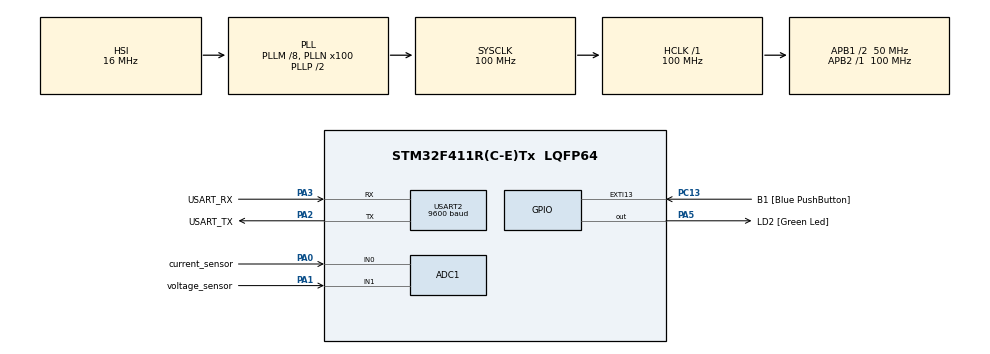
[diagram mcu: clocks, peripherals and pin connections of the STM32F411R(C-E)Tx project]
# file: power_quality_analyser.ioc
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ADC1.Channel-3\#ChannelRegularConversion=ADC_CHANNEL_0
ADC1.Channel-4\#ChannelRegularConversion=ADC_CHANNEL_1
ADC1.ContinuousConvMode=DISABLE
ADC1.DMAContinuousRequests=ENABLE
ADC1.EOCSelection=ADC_EOC_SEQ_CONV
ADC1.ExternalTrigConv=ADC_EXTERNALTRIGCONV_T2_TRGO
ADC1.NbrOfConversion=2
ADC1.NbrOfConversionFlag=1
ADC1.Rank-3\#ChannelRegularConversion=1
ADC1.Rank-4\#ChannelRegularConversion=2
ADC1.SamplingTime-3\#ChannelRegularConversion=ADC_SAMPLETIME_56CYCLES
ADC1.SamplingTime-4\#ChannelRegularConversion=ADC_SAMPLETIME_56CYCLES
ADC1.master=1
Dma.ADC1.0.Direction=DMA_PERIPH_TO_MEMORY
Dma.ADC1.0.FIFOMode=DMA_FIFOMODE_DISABLE
Dma.ADC1.0.Instance=DMA2_Stream0
Dma.ADC1.0.MemDataAlignment=DMA_MDATAALIGN_HALFWORD
Dma.ADC1.0.MemInc=DMA_MINC_ENABLE
Dma.ADC1.0.Mode=DMA_CIRCULAR
Dma.ADC1.0.PeriphDataAlignment=DMA_PDATAALIGN_HALFWORD
Dma.ADC1.0.PeriphInc=DMA_PINC_DISABLE
Dma.ADC1.0.Priority=DMA_PRIORITY_LOW
Dma.Request0=ADC1
Mcu.Family=STM32F4
Mcu.Name=STM32F411R(C-E)Tx
Mcu.Package=LQFP64
NVIC.DMA2_Stream0_IRQn=true\:0\:0\:false\:false\:true\:false\:true\:true
NVIC.PriorityGroup=NVIC_PRIORITYGROUP_0
NVIC.TIM2_IRQn=true\:0\:0\:false\:false\:true\:true\:true\:true
NVIC.USART2_IRQn=true\:0\:0\:false\:false\:true\:true\:true\:true
PA0-WKUP.GPIO_Label=current_sensor
PA0-WKUP.Signal=ADCx_IN0
PA1.GPIO_Label=voltage_sensor
PA1.Signal=ADCx_IN1
PA13.GPIO_Label=TMS
PA13.Mode=Serial_Wire
PA13.Signal=SYS_JTMS-SWDIO
PA14.GPIO_Label=TCK
PA14.Mode=Serial_Wire
PA14.Signal=SYS_JTCK-SWCLK
PA2.GPIO_Label=USART_TX
PA2.Mode=Asynchronous
PA2.Signal=USART2_TX
PA3.GPIO_Label=USART_RX
PA3.Mode=Asynchronous
PA3.Signal=USART2_RX
PA5.GPIO_Label=LD2 [Green Led]
PA5.Signal=GPIO_Output
PB3.GPIO_Label=SWO
PB3.Signal=SYS_JTDO-SWO
PC13-ANTI_TAMP.GPIO_Label=B1 [Blue PushButton]
PC13-ANTI_TAMP.GPIO_ModeDefaultEXTI=GPIO_MODE_IT_FALLING
PC13-ANTI_TAMP.Signal=GPXTI13
PC14-OSC32_IN.Mode=LSE-External-Oscillator
PC14-OSC32_IN.Signal=RCC_OSC32_IN
PC15-OSC32_OUT.Mode=LSE-External-Oscillator
PC15-OSC32_OUT.Signal=RCC_OSC32_OUT
PH0\ -\ OSC_IN.Mode=HSE-External-Clock-Source
PH0\ -\ OSC_IN.Signal=RCC_OSC_IN
PH1\ -\ OSC_OUT.Mode=HSE-External-Clock-Source
PH1\ -\ OSC_OUT.Signal=RCC_OSC_OUT
ProjectManager.HeapSize=0x200
ProjectManager.StackSize=0x400
ProjectManager.TargetToolchain=Makefile
RCC.48MHZClocksFreq_Value=50000000
RCC.AHBFreq_Value=100000000
RCC.APB1CLKDivider=RCC_HCLK_DIV2
RCC.APB1Freq_Value=50000000
RCC.APB1TimFreq_Value=100000000
RCC.APB2Freq_Value=100000000
RCC.APB2TimFreq_Value=100000000
RCC.CortexFreq_Value=100000000
RCC.FLatency-AdvancedSettings=FLASH_LATENCY_3
RCC.HCLKFreq_Value=100000000
RCC.HSE_VALUE=8000000
RCC.HSI_VALUE=16000000
RCC.PLLM=8
RCC.PLLN=100
RCC.SYSCLKFreq_VALUE=100000000
RCC.SYSCLKSource=RCC_SYSCLKSOURCE_PLLCLK
RCC.VCOOutputFreq_Value=200000000
SH.ADCx_IN0.0=ADC1_IN0,IN0
SH.ADCx_IN1.0=ADC1_IN1,IN1
STMicroelectronics.X-CUBE-ALGOBUILD.1.4.0.LibraryCcDSPOoLibraryJjDSPOoLibrary=true
TIM2.AutoReloadPreload=TIM_AUTORELOAD_PRELOAD_ENABLE
TIM2.Period=1
TIM2.Prescaler=4999
TIM2.TIM_MasterOutputTrigger=TIM_TRGO_UPDATE
USART2.BaudRate=9600
USART2.VirtualMode=VM_ASYNC
VP_STMicroelectronics.X-CUBE-ALGOBUILD_VS_DSPOoLibraryJjLibrary_1.4.0_1.4.0.Mode=DSPOoLibraryJjLibrary
VP_TIM2_VS_ClockSourceINT.Mode=Internal
board=NUCLEO-F411RE

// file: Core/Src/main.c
/* USER CODE BEGIN Header */
/**
 ******************************************************************************
 * @file           : main.c
 * @brief          : Main program body
 ******************************************************************************
 * @attention
 *
 * Copyright (c) 2025 STMicroelectronics.
 * All rights reserved.
 *
 * This software is licensed under terms that can be found in the LICENSE file
 * in the root directory of this software component.
 * If no LICENSE file comes with this software, it is provided AS-IS.
 *
 ******************************************************************************
 */
/* USER CODE END Header */
#include "main.h"
#include "adc.h"
#include "dma.h"
#include "gpio.h"
#include "tim.h"
#include "usart.h"

/* USER CODE BEGIN Includes */
#include "arm_math.h"
#include "signal_processing.h"
#include "stdio.h"
#include <stdbool.h>

/* USER CODE END Includes */

/* USER CODE BEGIN PD */
// TODO: Deve ser 4000
#define ADC_BUF_LEN 4000
// #define ADC_BUF_LEN 100

// Estrutura para armazenar as leituras dos dois canais
typedef struct {
  uint16_t corrente;  // Canal 0 - Leitura de corrente
  uint16_t tensao;    // Canal 1 - Leitura de tensão
} ADC_Leituras_t;

// Declaração externa do array de dados mockados
extern const ADC_Leituras_t mock_adc_data[4000];

/* USER CODE END PD */

/* USER CODE BEGIN PV */
ADC_Leituras_t adc_buf[ADC_BUF_LEN];

arm_rfft_fast_instance_f32 fft_instance;

float32_t fft_result[FFT_LENGTH] = {0};
float32_t fft_temp[FFT_LENGTH * 2];
float32_t fft_mag[FFT_LENGTH / 2];
/* USER CODE END PV */

void SystemClock_Config(void);
/* USER CODE BEGIN PFP */
void getPowerMetrics(_Bool firstHalf);

/* USER CODE END PFP */

int main(void) {

  /* USER CODE BEGIN 1 */
  CoreDebug->DEMCR |= CoreDebug_DEMCR_TRCENA_Msk;
  DWT->CYCCNT = 0;
  DWT->CTRL |= DWT_CTRL_CYCCNTENA_Msk;

  // Inicializa o buffer com dados mockados
  // memcpy(adc_buf, mock_adc_data, sizeof(adc_buf));

  /* USER CODE END 1 */

  /* MCU Configuration--------------------------------------------------------*/

  /* Reset of all peripherals, Initializes the Flash interface and the Systick. */
  HAL_Init();

  /* USER CODE BEGIN Init */
  // volatile uint32_t start_cycles = DWT->CYCCNT;
  // volatile uint32_t elapsed_cycles = DWT->CYCCNT - start_cycles;

  /* USER CODE END Init */

  /* Configure the system clock */
  SystemClock_Config();

  /* USER CODE BEGIN SysInit */

  // TODO: Mover a inicialização do DMA para depois da configuração do
  // ADC
  /* USER CODE END SysInit */

  /* Initialize all configured peripherals */
  MX_GPIO_Init();
  MX_DMA_Init();
  MX_USART2_UART_Init();
  MX_ADC1_Init();
  MX_TIM2_Init();
  /* USER CODE BEGIN 2 */

  HAL_TIM_Base_Start(&htim2);
  HAL_ADC_Start_DMA(&hadc1, (uint32_t *)adc_buf, ADC_BUF_LEN * 2);

  arm_rfft_fast_init_f32(&fft_instance, FFT_LENGTH);

  // getPowerMetrics(true);
  // getPowerMetrics(false);

  /* USER CODE END 2 */

  /* Infinite loop */
  while (1) {

  }
}

void SystemClock_Config(void) {
  RCC_OscInitTypeDef RCC_OscInitStruct = {0};
  RCC_ClkInitTypeDef RCC_ClkInitStruct = {0};

  /** Configure the main internal regulator output voltage
   */
  __HAL_RCC_PWR_CLK_ENABLE();
  __HAL_PWR_VOLTAGESCALING_CONFIG(PWR_REGULATOR_VOLTAGE_SCALE1);

  /** Initializes the RCC Oscillators according to the specified parameters
   * in the RCC_OscInitTypeDef structure.
   */
  RCC_OscInitStruct.OscillatorType = RCC_OSCILLATORTYPE_HSI;
  RCC_OscInitStruct.HSIState = RCC_HSI_ON;
  RCC_OscInitStruct.HSICalibrationValue = RCC_HSICALIBRATION_DEFAULT;
  RCC_OscInitStruct.PLL.PLLState = RCC_PLL_ON;
  RCC_OscInitStruct.PLL.PLLSource = RCC_PLLSOURCE_HSI;
  RCC_OscInitStruct.PLL.PLLM = 8;
  RCC_OscInitStruct.PLL.PLLN = 100;
  RCC_OscInitStruct.PLL.PLLP = RCC_PLLP_DIV2;
  RCC_OscInitStruct.PLL.PLLQ = 4;
  if (HAL_RCC_OscConfig(&RCC_OscInitStruct) != HAL_OK) {
    Error_Handler();
  }

  /** Initializes the CPU, AHB and APB buses clocks
   */
  RCC_ClkInitStruct.ClockType =
      RCC_CLOCKTYPE_HCLK | RCC_CLOCKTYPE_SYSCLK | RCC_CLOCKTYPE_PCLK1 | RCC_CLOCKTYPE_PCLK2;
  RCC_ClkInitStruct.SYSCLKSource = RCC_SYSCLKSOURCE_PLLCLK;
  RCC_ClkInitStruct.AHBCLKDivider = RCC_SYSCLK_DIV1;
  RCC_ClkInitStruct.APB1CLKDivider = RCC_HCLK_DIV2;
  RCC_ClkInitStruct.APB2CLKDivider = RCC_HCLK_DIV1;

  if (HAL_RCC_ClockConfig(&RCC_ClkInitStruct, FLASH_LATENCY_3) != HAL_OK) {
    Error_Handler();
  }
}

/* USER CODE BEGIN 4 */

void HAL_ADC_ConvHalfCpltCallback(ADC_HandleTypeDef *hadc) {
  getPowerMetrics(true);
}

// Called when buffer is completely filled
void HAL_ADC_ConvCpltCallback(ADC_HandleTypeDef *hadc) {
  getPowerMetrics(false);
}

void getPowerMetrics(_Bool firstHalf) {
  int maxLength = ADC_BUF_LEN / 2;

  // Converte para float
  float32_t voltage_buffer[FFT_LENGTH] = {0};
  float32_t current_buffer[FFT_LENGTH] = {0};
  float32_t filtered_voltage[FFT_LENGTH] = {0};
  float32_t filtered_current[FFT_LENGTH] = {0};

  // Define o tamanho da janela do filtro (ajuste conforme necessário)
  const uint32_t WINDOW_SIZE = 5;

  for (int i = 0; i < FFT_LENGTH; i++) {
    if (firstHalf) {
      if (i >= maxLength) {
        voltage_buffer[i] = 0;
        current_buffer[i] = 0;
      } else {
        voltage_buffer[i] = convert_adc_to_float(adc_buf[i].tensao);
        current_buffer[i] = convert_adc_to_float(adc_buf[i].corrente);
      }
    } else {
      if (i >= maxLength) {
        voltage_buffer[i] = 0;
        current_buffer[i] = 0;
      } else {
        voltage_buffer[i] = convert_adc_to_float(adc_buf[i].tensao);
        current_buffer[i] = convert_adc_to_float(adc_buf[i].corrente);
      }
    }
  }

  // Aplica o filtro de média móvel
  apply_moving_average_filter(voltage_buffer, filtered_voltage, FFT_LENGTH, WINDOW_SIZE);
  apply_moving_average_filter(current_buffer, filtered_current, FFT_LENGTH, WINDOW_SIZE);

  // Remove o offset dos sinais filtrados
  remove_offset(filtered_voltage, maxLength);
  remove_offset(filtered_current, maxLength);

  // Calcula potências usando os sinais filtrados
  Power_Results_t power = calculate_power(filtered_voltage, filtered_current, maxLength);

  // Calcula parâmetros de qualidade usando os sinais filtrados
  Quality_Results_t quality =
      calculate_quality_parameters(filtered_voltage, filtered_current, &fft_instance, maxLength);

  char tx_buff[200] = {0};
  // Formata mensagem
  if (!firstHalf) {
    // sprintf(tx_buff,
    //         "V_rms: %.2f V; I_rms: %.2fA; Freq: %.2fHz; "
    //         "P_act: %.2fW; P_react: %.2fVAR; P_app: %.2fVA; "
    //         "PF: %.2f\r\n",
    //         quality.rms_voltage, quality.rms_current, quality.frequency, power.active_power,
    //         power.reactive_power, power.apparent_power, power.power_factor);

    sprintf(
        tx_buff,
        "V_rms: %.2f V; I_rms: %.2fA; Freq: %.2fHz; P: %.2fW; Q: %.2fVAR; S: %.2fVA; PF: %.2f\r\n ",
        quality.rms_voltage, quality.rms_current, quality.frequency, power.active_power,
        power.reactive_power, power.apparent_power, power.power_factor);

    // Envia pela UART
    HAL_UART_Transmit(&huart2, (uint8_t *)tx_buff, strlen(tx_buff), 1000);
    HAL_GPIO_TogglePin(LD2_GPIO_Port, LD2_Pin);
  }

  printf("RMS Voltage: %f\r\n", quality.rms_voltage);
  printf("RMS Current: %f\r\n", quality.rms_current);
  printf("Frequency: %f\r\n", quality.frequency);
  printf("Active Power: %f\r\n", power.active_power);
  printf("Reactive Power: %f\r\n", power.reactive_power);
  printf("Apparent Power: %f\r\n", power.apparent_power);
  printf("Power Factor: %f\r\n", power.power_factor);
}

/* USER CODE END 4 */

void Error_Handler(void) {
  __disable_irq();
  while (1) {
  }
}

#ifdef USE_FULL_ASSERT
/**
 * @brief  Reports the name of the source file and the source line number
 *         where the assert_param error has occurred.
 * @param  file: pointer to the source file name
 * @param  line: assert_param error line source number
 * @retval None
 */
void assert_failed(uint8_t *file, uint32_t line) {
  /* USER CODE BEGIN 6 */
  /* User can add his own implementation to report the file name and line
     number, ex: printf("Wrong parameters value: file %s on line %d\r\n", file,
     line) */
  /* USER CODE END 6 */
}
#endif /* USE_FULL_ASSERT */
